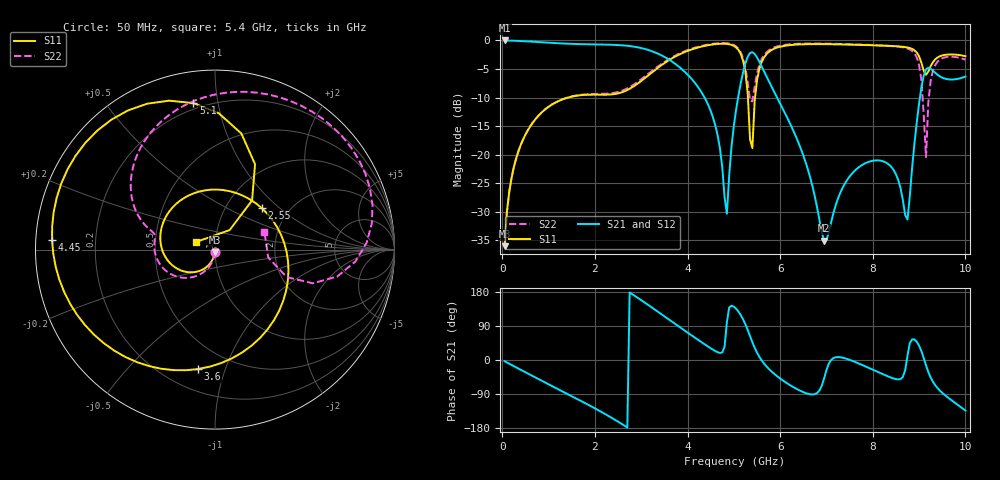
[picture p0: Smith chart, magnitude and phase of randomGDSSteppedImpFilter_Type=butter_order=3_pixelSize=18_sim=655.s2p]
! freq	dB(S11)	phase(S11)	dB(S12)	phase(S12)
!  dB(S21)	phase(S21)	dB(S22)	phase(S22)
!S-par simulation data
#  GHz  S  DB  R 50
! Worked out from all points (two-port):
!   200 points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, 50 MHz to 10 GHz, reference 50 ohm
!   highest |S21| = 0.00 dB at 50 MHz (marker M1); lowest = -35.1 dB at 6.95 GHz (marker M2)
!   |S21| within 3 dB of the highest: start of sweep to 3.528 GHz; 5.293 GHz to 5.503 GHz (209.4 MHz wide, 3.88 % of centre)
!   lowest |S11| = -36.0 dB at 50 MHz (marker M3), VSWR 1.03, Z = 49.9 - j1.58 ohm
!   |S11| at or under -10 dB: start of sweep to 1.419 GHz; 5.304 GHz to 5.458 GHz (153.9 MHz wide, 2.86 % of centre)
!   |S22| runs from -36.0 to -0.5 dB; largest |S21 - S12| = 0
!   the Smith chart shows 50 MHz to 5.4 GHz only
!   S11 on the Smith chart (normalised r, x): 50 MHz: 1.00, -0.03; 2.55 GHz: 1.47, +0.77; 3.6 GHz: 0.33, -0.81; 4.45 GHz: 0.05, +0.03; 5.1 GHz: 0.17, +0.85; 5.4 GHz: 0.81, +0.07
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0.05  -36.01 -93.7  -0.00 -3.3  -0.00 -3.3  -36.02 -92.9
0.5  -16.49 -126.9  -0.14 -32.4  -0.14 -32.4  -16.47 -118.9
1.75  -9.54 135.2  -0.66 -111.2  -0.66 -111.2  -9.47 -178.5
2.55  -9.16 41.5  -0.83 -166.4  -0.83 -166.4  -8.90 164.4
3.4  -4.55 -75.1  -2.46 124.0  -2.46 124.0  -4.33 140.5
3.6  -3.45 -98.1  -3.35 106.7  -3.35 106.7  -3.26 128.8
4.45  -0.82 176.5  -11.36 34.9  -11.36 34.9  -0.71 67.3
4.85  -0.61 134.8  -30.35 100.3  -30.35 100.3  -0.49 32.1
5.05  -1.23 107.1  -12.05 135.1  -12.05 135.1  -1.06 9.4
5.1  -1.67 98.4  -9.60 127.6  -9.60 127.6  -1.46 2.6
5.25  -5.59 64.9  -4.01 94.0  -4.01 94.0  -4.79 -19.0
5.4  -18.85 158.2  -2.06 46.9  -2.06 46.9  -10.68 19.5
5.55  -5.02 145.0  -3.71 8.6  -3.71 8.6  -4.28 29.1
5.95  -1.21 90.1  -10.25 -44.3  -10.25 -44.3  -1.02 -9.9
6.7  -0.64 20.0  -25.61 -90.9  -25.61 -90.9  -0.53 -61.7
6.95  -0.65 -1.2  -35.07 -48.1  -35.07 -48.1  -0.55 -76.6
8.35  -0.95 -106.5  -21.74 -44.3  -21.74 -44.3  -0.95 -155.2
8.75  -1.23 -136.5  -31.34 11.9  -31.34 11.9  -1.41 174.0
9  -2.79 -161.3  -11.05 37.9  -11.05 37.9  -4.31 134.3
9.15  -6.02 -155.6  -5.07 -14.3  -5.07 -14.3  -20.42 -165.8
9.3  -3.79 -149.6  -5.31 -57.7  -5.31 -57.7  -5.28 -159.2
10  -2.75 161.6  -6.31 -133.4  -6.31 -133.4  -3.38 122.3
